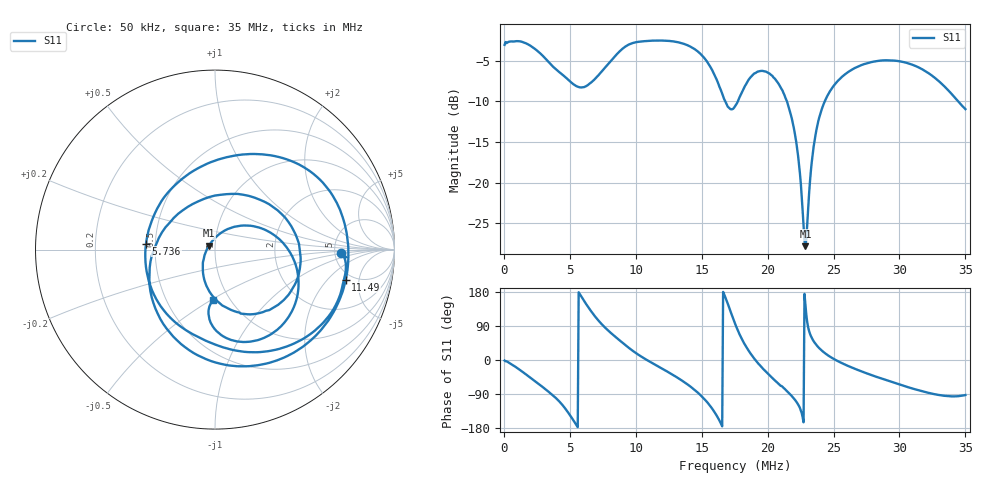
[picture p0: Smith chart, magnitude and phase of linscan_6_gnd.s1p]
# Hz S RI R 50
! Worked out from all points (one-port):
!   505 points, 50 kHz to 35 MHz, reference 50 ohm
!   lowest |S11| = -27.8 dB at 22.86 MHz (marker M1), VSWR 1.08, Z = 46.7 + j2.08 ohm
!   |S11| at or under -10 dB: 16.79 MHz to 17.74 MHz (957.5 kHz wide, 5.55 % of centre); 21.46 MHz to 24.33 MHz (2.871 MHz wide, 12.5 % of centre); 34.45 MHz to end of sweep
!   S11 on the Smith chart (normalised r, x): 50 kHz: 5.72, -0.39; 5.736 MHz: 0.44, +0.04; 11.49 MHz: 4.35, -3.29; 35 MHz: 0.83, -0.51
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50000  0.7033 -0.0174
1159500  0.671 -0.3124
2407700  0.358 -0.5532
3378500  0.0614 -0.5492
4488000  -0.2353 -0.3927
5736200  -0.3841 0.0339
7331145  -0.0631 0.4693
8856745  0.4233 0.4942
1.003564e7  0.6964 0.2222
1.149184e7  0.7288 -0.1668
1.322554e7  0.4874 -0.5426
1.475109e7  0.0268 -0.635
1.606869e7  -0.3526 -0.2665
1.676209e7  -0.3124 0.0659
1.759419e7  8.48e-05 0.3013
1.856509e7  0.3921 0.1768
1.925849e7  0.4773 -0.0662
2.064539e7  0.2317 -0.3569
2.196294e7  -0.0397 -0.2177
2.237904e7  -0.0679 -0.1107
2.286444e7  -0.034 0.0223
2.341924e7  0.0891 0.121
2.397394e7  0.2275 0.1275
2.633174e7  0.4646 -0.1613
2.875878e7  0.3591 -0.4352
3.070048e7  0.1641 -0.515
3.298878e7  -0.0171 -0.4198
3.499988e7  -0.0125 -0.2828
